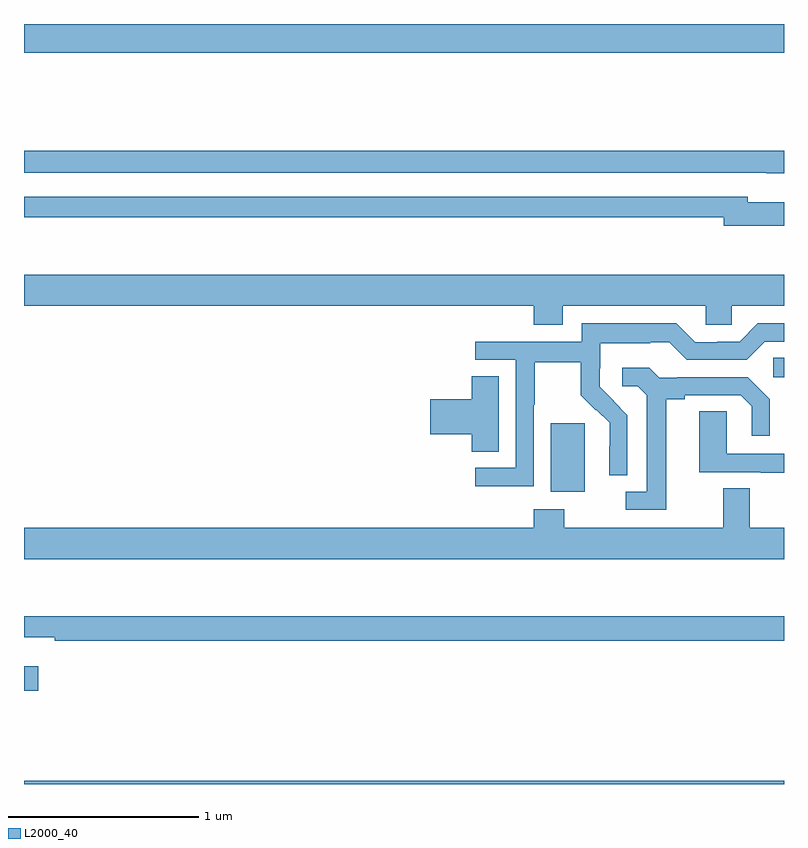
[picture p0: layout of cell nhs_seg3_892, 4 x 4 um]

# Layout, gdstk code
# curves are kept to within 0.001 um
import gdstk
lib = gdstk.Library(unit=1e-6, precision=1e-09)
def R(c, l, rs):  # rectangles x0, y0, x1, y1
    for r in rs: c.add(gdstk.rectangle(r[:2], r[2:], *l))
def P(c, l, *ps):  # polygons
    for p in ps: c.add(gdstk.Polygon(p, *l))
L2000_40 = (2000, 40)

nhs_seg3_892 = lib.new_cell('nhs_seg3_892')
R(nhs_seg3_892, L2000_40, [(157,698.4,161,698.416), (157,698.89,157.075,699.019), (159.773,699.938,159.952,700.299), (160.944,700.542,161,700.643), (157,702.248,161,702.4)])
P(nhs_seg3_892, L2000_40, [(161,701.732),(157,701.732),(157,701.616),(160.906,701.616),(160.906,701.615),(161,701.615)],
  [(161,701.461),(160.81,701.461),(160.81,701.49),(157,701.49),(157,701.382),(160.682,701.382),(160.682,701.339),(161,701.339)],
  [(159.835,700.916),(160.587,700.916),(160.587,700.818),(160.725,700.818),(160.725,700.916),(161,700.916),(161,701.08),(157,701.08),(157,700.916),(159.683,700.916),(159.683,700.817),(159.835,700.817)],
  [(159.684,700.396),(159.687,700.396),(159.687,700.62),(159.931,700.62),(159.931,700.445),(160.008,700.368),(160.011,700.371),(160.082,700.301),(160.082,700.178),(160.08,700.178),(160.08,700.024),(160.176,700.024),(160.176,700.342),(160.03,700.49),(160.03,700.587),(160.032,700.587),(160.032,700.721),(160.295,700.721),(160.295,700.725),(160.395,700.725),(160.488,700.632),(160.803,700.632),(160.899,700.728),(161,700.728),(161,700.824),(160.863,700.824),(160.767,700.728),(160.649,700.728),(160.649,700.725),(160.533,700.725),(160.433,700.825),(159.936,700.825),(159.936,700.728),(159.375,700.728),(159.375,700.632),(159.588,700.632),(159.588,700.065),(159.375,700.065),(159.375,699.967),(159.684,699.967)],
  [(160.381,700.424),(160.477,700.424),(160.477,700.446),(160.772,700.446),(160.829,700.389),(160.829,700.233),(160.926,700.233),(160.926,700.426),(160.81,700.542),(160.438,700.542),(160.438,700.539),(160.344,700.539),(160.292,700.591),(160.149,700.591),(160.149,700.494),(160.23,700.494),(160.277,700.447),(160.277,699.939),(160.167,699.939),(160.167,699.843),(160.381,699.843)],
  [(159.499,700.547),(159.356,700.547),(159.356,700.424),(159.138,700.424),(159.138,700.241),(159.356,700.241),(159.356,700.15),(159.499,700.15)],
  [(161,700.137),(160.698,700.137),(160.698,700.361),(160.553,700.361),(160.553,700.041),(160.877,700.041),(160.877,700.037),(161,700.037)],
  [(161,699.748),(160.819,699.748),(160.819,699.956),(160.679,699.956),(160.679,699.748),(159.843,699.748),(159.843,699.847),(159.683,699.847),(159.683,699.748),(157,699.748),(157,699.584),(161,699.584)],
  [(161,699.283),(157,699.283),(157,699.173),(157.162,699.173),(157.162,699.154),(161,699.154)])

lib.write_gds('nhs_seg3_892.gds')
